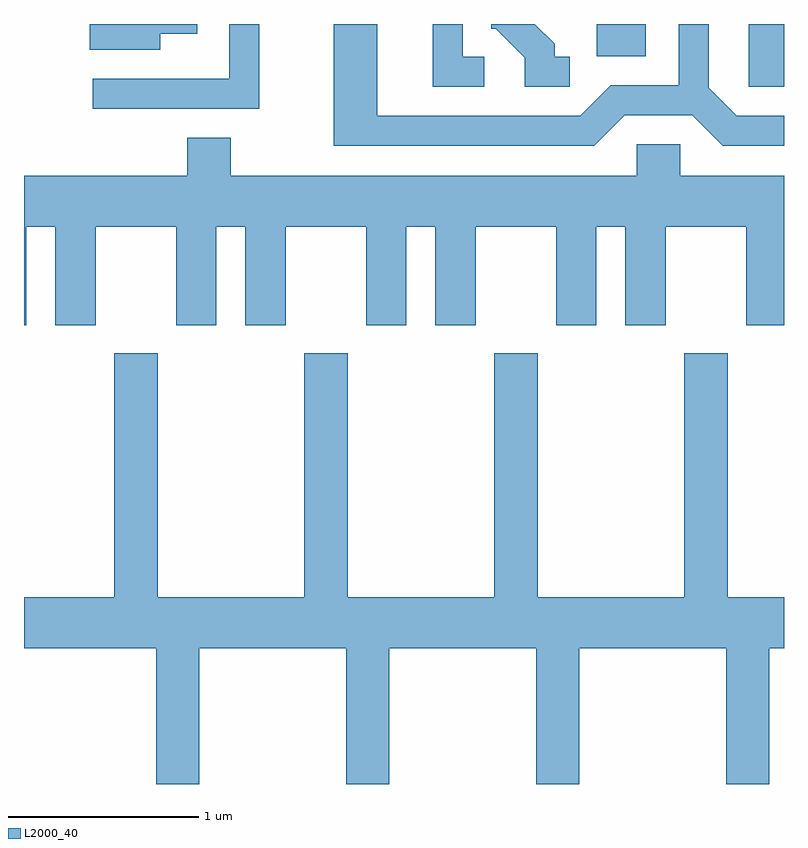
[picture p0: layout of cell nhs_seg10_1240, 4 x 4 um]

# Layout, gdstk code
import gdstk
lib = gdstk.Library(unit=1e-6, precision=1e-09)
def R(c, l, rs):  # rectangles x0, y0, x1, y1
    for r in rs: c.add(gdstk.rectangle(r[:2], r[2:], *l))
def P(c, l, *ps):  # polygons
    for p in ps: c.add(gdstk.Polygon(p, *l))
L2000_40 = (2000, 40)

nhs_seg10_1240 = lib.new_cell('nhs_seg10_1240')
R(nhs_seg10_1240, L2000_40, [(225.426,2130.191,225.611,2130.522), (224.626,2130.351,224.884,2130.522)])
P(nhs_seg10_1240, L2000_40, [(224.772,2130.041),(225.129,2130.041),(225.289,2129.881),(225.611,2129.881),(225.611,2130.039),(225.362,2130.039),(225.214,2130.187),(225.214,2130.522),(225.056,2130.522),(225.056,2130.199),(224.699,2130.199),(224.539,2130.039),(223.469,2130.039),(223.469,2130.522),(223.241,2130.522),(223.241,2129.881),(224.612,2129.881)],
  [(222.329,2130.471),(222.524,2130.471),(222.524,2130.522),(221.956,2130.522),(221.956,2130.386),(222.329,2130.386)],
  [(222.849,2130.522),(222.691,2130.522),(222.691,2130.234),(221.973,2130.234),(221.973,2130.076),(222.849,2130.076)],
  [(224.033,2130.349),(223.919,2130.349),(223.919,2130.522),(223.761,2130.522),(223.761,2130.191),(224.033,2130.191)],
  [(224.483,2130.349),(224.404,2130.349),(224.404,2130.417),(224.299,2130.522),(224.071,2130.522),(224.071,2130.496),(224.094,2130.496),(224.246,2130.344),(224.246,2130.191),(224.483,2130.191)],
  [(222.699,2129.924),(222.471,2129.924),(222.471,2129.724),(221.611,2129.724),(221.611,2128.936),(221.624,2128.936),(221.624,2129.456),(221.776,2129.456),(221.776,2128.936),(221.989,2128.936),(221.989,2129.456),(222.411,2129.456),(222.411,2128.936),(222.624,2128.936),(222.624,2129.456),(222.776,2129.456),(222.776,2128.936),(222.989,2128.936),(222.989,2129.456),(223.411,2129.456),(223.411,2128.936),(223.624,2128.936),(223.624,2129.456),(223.776,2129.456),(223.776,2128.936),(223.989,2128.936),(223.989,2129.456),(224.411,2129.456),(224.411,2128.936),(224.624,2128.936),(224.624,2129.456),(224.776,2129.456),(224.776,2128.936),(224.989,2128.936),(224.989,2129.456),(225.411,2129.456),(225.411,2128.936),(225.611,2128.936),(225.611,2129.724),(225.064,2129.724),(225.064,2129.889),(224.836,2129.889),(224.836,2129.724),(222.699,2129.724)],
  [(222.534,2127.236),(223.306,2127.236),(223.306,2126.522),(223.534,2126.522),(223.534,2127.236),(224.306,2127.236),(224.306,2126.522),(224.534,2126.522),(224.534,2127.236),(225.306,2127.236),(225.306,2126.522),(225.534,2126.522),(225.534,2127.236),(225.611,2127.236),(225.611,2127.504),(225.314,2127.504),(225.314,2128.789),(225.086,2128.789),(225.086,2127.504),(224.314,2127.504),(224.314,2128.789),(224.086,2128.789),(224.086,2127.504),(223.314,2127.504),(223.314,2128.789),(223.086,2128.789),(223.086,2127.504),(222.314,2127.504),(222.314,2128.789),(222.086,2128.789),(222.086,2127.504),(221.611,2127.504),(221.611,2127.236),(222.306,2127.236),(222.306,2126.522),(222.534,2126.522)])

lib.write_gds('nhs_seg10_1240.gds')
